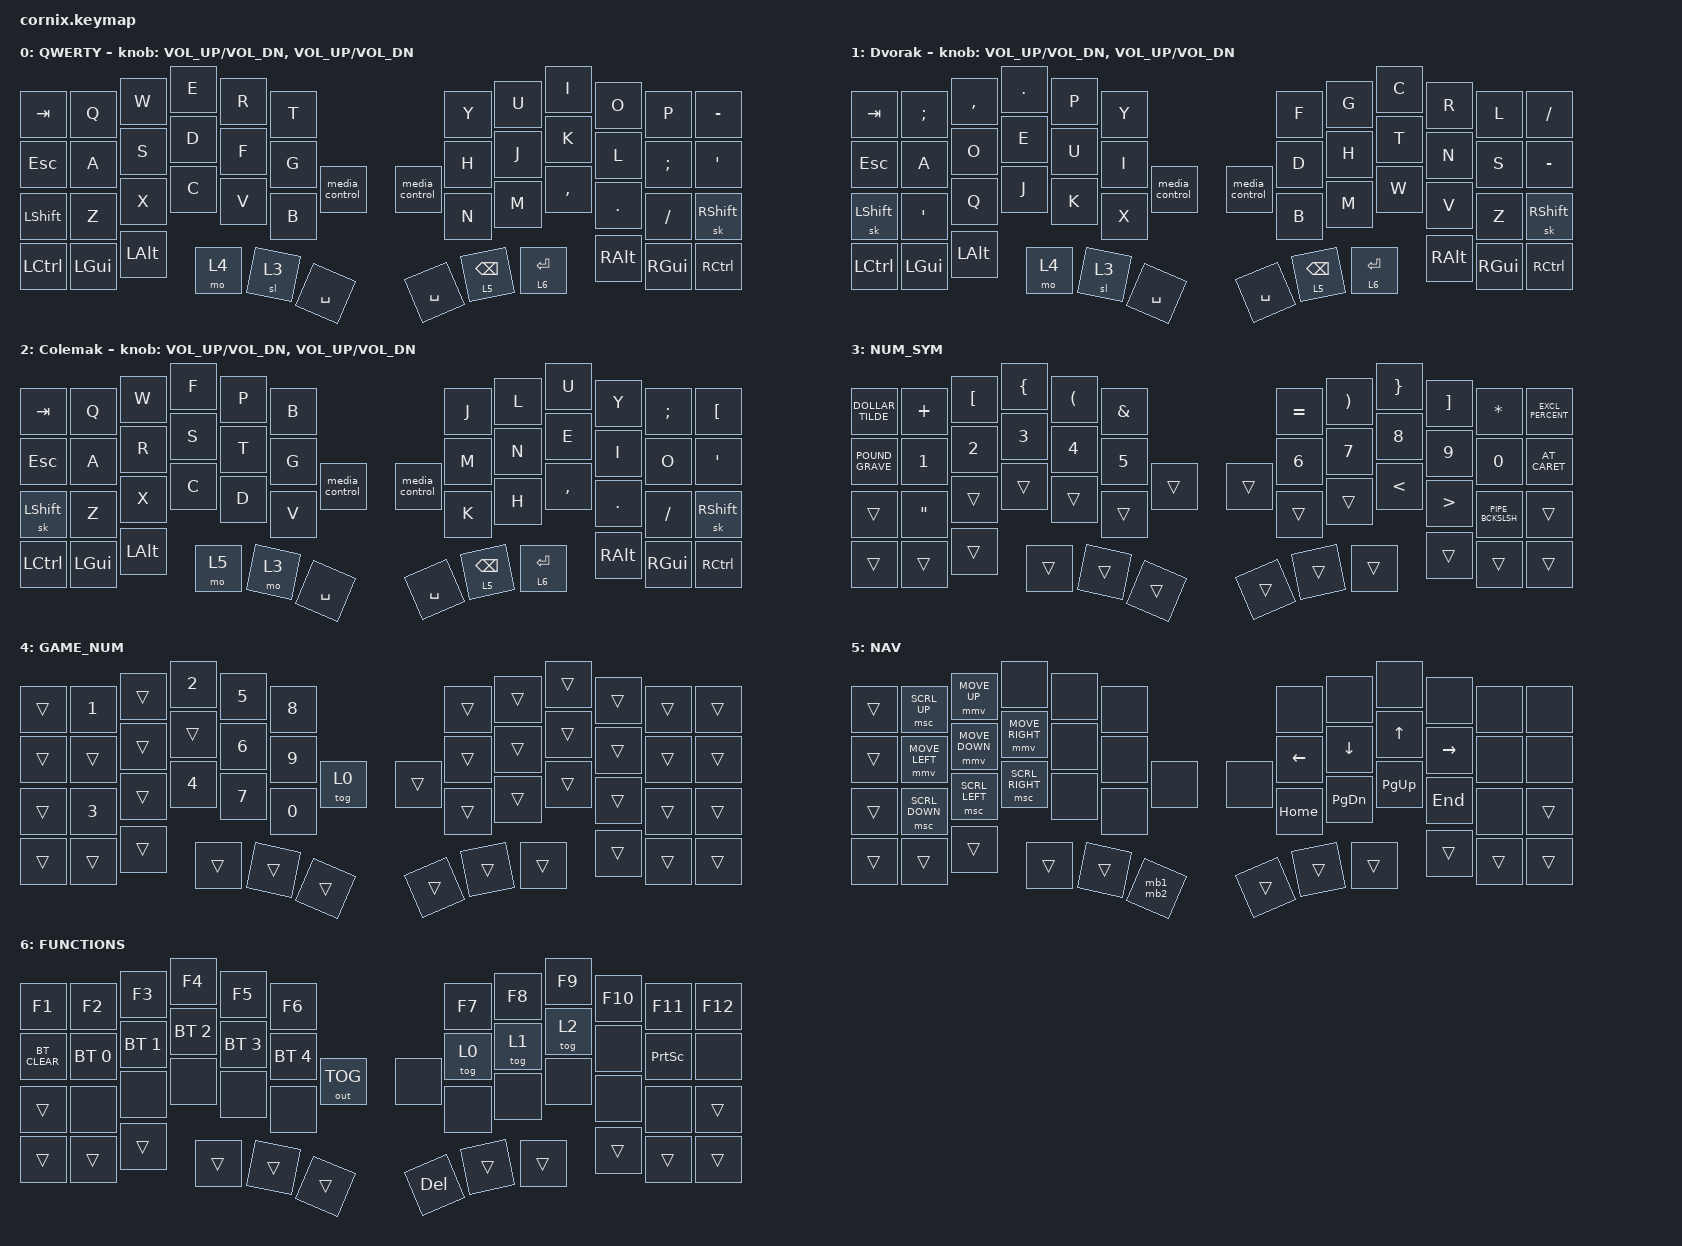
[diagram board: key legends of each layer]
/*
 * Copyright (c) 2020 The ZMK Contributors
 *
 * SPDX-License-Identifier: MIT
 */

#include "zmk-helpers/helper.h"
#include "includes/cornix54.h"

// tap windows for ctl alt and gui

#define HM_TAPPING_TERM 250
#define HM_TAPPING_REPEAT 210

// quick tapping for shift

#define HM_TAPPING_TERM_FAST 200
#define HM_PRIOR_IDLE 70
#define BASE 0
#define WIN 1
#define LOWER 2
#define RAISE 3
#define ADJUST 4
#define NAVI   5
#define NUM    6
#define DEBUG  7

// https://github.com/urob/zmk-config/tree/main#timeless-homerow-mods

#define KEYS_L LT0 LT1 LT2 LT3 LT4 LT5 LM0 LM1 LM2 LM3 LM4 LM5 LB0 LB1 LB2 LB3 LB4 LB5  // left hand
#define KEYS_R RT0 RT1 RT2 RT3 RT4 RT5 RM0 RM1 RM2 RM3 RM4 RM5 RB0 RB1 RB2 RB3 RB4 RB5  // right hand
#define THUMBS LH1 LH0 RH0 RH1
#define KEYS_T LH1 LH0 RH0 RH1
#define ZMK_POINTING_DEFAULT_SCRL_VAL 15

#include <behaviors.dtsi>
#include <dt-bindings/zmk/bt.h>
#include <dt-bindings/zmk/keys.h>
#include <dt-bindings/zmk/outputs.h>
#include <dt-bindings/zmk/pointing.h>

&sk {
    quick-release;
    release-after-ms = <750>;
};

&sl {
    ignore-modifiers;
    release-after-ms = <750>;
};

&lt {
};

/ {
    // Activate ADJUST layer by pressing raise and lower

    behaviors {
        // Positional Homerow mods for shift
        // Use faster tapping term and disable some features that may
        // cause false negatives.
        /*
         * Non-Positional Homerow Mods
         * Used for &mm_grescm_gui behavior on left hand.
         *
         * Usage: &hm LSHFT T
         * Tap: T
         * Tap-Tap-Hold: Repeat T
         * Hold: LSHIFT
         */

        mb1_mb2: mb1_mb2 {
            compatible = "zmk,behavior-mod-morph";
            bindings = <&mkp MB1>, <&mkp MB2>;

            #binding-cells = <0>;
            mods = <(MOD_LSFT)>;
        };

        media_control: media_control {
            compatible = "zmk,behavior-tap-dance";
            #binding-cells = <0>;
            bindings = <&kp C_PLAY_PAUSE>, <&kp C_NEXT>, <&kp C_PREV>;
        };

        BT_CLEAR: BT_CLEAR {
            compatible = "zmk,behavior-mod-morph";
            bindings = <&bt BT_CLR>, <&bt BT_CLR_ALL>;

            #binding-cells = <0>;
            mods = <(MOD_LSFT)>;
        };

        DOLLAR_TILDE: DOLLAR_TILDE {
            compatible = "zmk,behavior-mod-morph";
            label = "DOLLAR_TILDE";
            bindings = <&kp DOLLAR>, <&kp TILDE>;

            #binding-cells = <0>;
            mods = <(MOD_LSFT|MOD_RSFT)>;
        };

        EXCL_PERCENT: EXCL_PERCENT {
            compatible = "zmk,behavior-mod-morph";
            bindings = <&kp EXCLAMATION>, <&kp PERCENT>;

            #binding-cells = <0>;
            mods = <(MOD_LSFT|MOD_RSFT)>;
        };

        POUND_GRAVE: POUND_GRAVE {
            compatible = "zmk,behavior-mod-morph";
            bindings = <&kp HASH>, <&kp GRAVE>;

            #binding-cells = <0>;
            mods = <(MOD_LSFT|MOD_RSFT)>;
        };

        AT_CARET: AT_CARET {
            compatible = "zmk,behavior-mod-morph";
            bindings = <&kp AT_SIGN>, <&kp CARET>;

            #binding-cells = <0>;
            mods = <(MOD_LSFT|MOD_RSFT)>;
        };

        PIPE_BCKSLSH: PIPE_BCKSLSH {
            compatible = "zmk,behavior-mod-morph";
            bindings = <&kp PIPE>, <&kp BACKSLASH>;

            #binding-cells = <0>;
            mods = <(MOD_LSFT|MOD_RSFT)>;
        };
    };

    conditional_layers {
        compatible = "zmk,conditional-layers";

        Functions1 {
            if-layers = <3 5>;
            then-layer = <6>;
        };

        Functions2 {
            if-layers = <3 4>;
            then-layer = <6>;
        };
    };

    combos {
        compatible = "zmk,combos";

        cb_escape {
            bindings = <&kp ESCAPE>;
            key-positions = <19 20>;
            layers = <2>;
        };

        alt_tab {
            bindings = <&kp LA(TAB)>;
            key-positions = <40 0>;
            timeout-ms = <30>;
            layers = <0 2>;
        };

        lsft {
            bindings = <&kp LEFT_SHIFT>;
            key-positions = <14 15>;
            layers = <2 3 1>;
            timeout-ms = <30>;
        };

        rsft {
            bindings = <&kp RIGHT_SHIFT>;
            key-positions = <20 21>;
            timeout-ms = <30>;
            layers = <0 2 3 1>;
        };
    };

    macros {
        copy: copy {
            compatible = "zmk,behavior-macro";
            #binding-cells = <0>;
            bindings = <&kp LCTRL &kp LEFT_SHIFT &kp C>;
            label = "COPY";
        };

        paste: paste {
            compatible = "zmk,behavior-macro";
            #binding-cells = <0>;
            bindings = <&kp LCTRL &kp LEFT_SHIFT &kp V>;
            label = "PASTE";
        };
    };

    keymap {
        compatible = "zmk,keymap";

        QWERTY {
            display-name = "QWERTY";
            bindings = <
&kp TAB    &kp Q     &kp W     &kp E  &kp R  &kp T                                      &kp Y      &kp U            &kp I         &kp O     &kp P     &kp MINUS
&kp ESC    &kp A     &kp S     &kp D  &kp F  &kp G                                      &kp H      &kp J            &kp K         &kp L     &kp SEMI  &kp SQT
&kp LSHFT  &kp Z     &kp X     &kp C  &kp V  &kp B      &media_control  &media_control  &kp N      &kp M            &kp COMMA     &kp DOT   &kp FSLH  &sk RSHFT
&kp LCTRL  &kp LGUI  &kp LALT  &mo 4  &sl 3  &kp SPACE                                  &kp SPACE  &lt 5 BACKSPACE  &lt 6 RETURN  &kp RALT  &kp RGUI  &kp RIGHT_CONTROL
            >;

            sensor-bindings =
                <&inc_dec_kp C_VOL_UP C_VOL_DN>,
                <&inc_dec_kp C_VOLUME_UP C_VOL_DN>;
        };

        DVORAK {
            display-name = "Dvorak";
            bindings = <
&kp TAB    &kp SEMI  &kp COMMA  &kp DOT  &kp P  &kp Y                                      &kp F      &kp G            &kp C         &kp R     &kp L     &kp FSLH
&kp ESC    &kp A     &kp O      &kp E    &kp U  &kp I                                      &kp D      &kp H            &kp T         &kp N     &kp S     &kp MINUS
&sk LSHFT  &kp APOS  &kp Q      &kp J    &kp K  &kp X      &media_control  &media_control  &kp B      &kp M            &kp W         &kp V     &kp Z     &sk RSHFT
&kp LCTRL  &kp LGUI  &kp LALT   &mo 4    &sl 3  &kp SPACE                                  &kp SPACE  &lt 5 BACKSPACE  &lt 6 RETURN  &kp RALT  &kp RGUI  &kp RIGHT_CONTROL
            >;

            sensor-bindings =
                <&inc_dec_kp C_VOL_UP C_VOL_DN>,
                <&inc_dec_kp C_VOLUME_UP C_VOL_DN>;
        };

        COLEMAK {
            display-name = "Colemak";

            // ------------------------------------------------------------------------------------------------------------
            // |   `   |  1  |  2  |  3   |  4   |  5   |                   |  6   |  7    |  8    |  9   |   0   |       |
            // |  ESC  |  Q  |  W  |  E   |  R   |  T   |                   |  Y   |  U    |  I    |  O   |   P   | BKSPC |
            // |  TAB  |  A  |  S  |  D   |  F   |  G   |                   |  H   |  J    |  K    |  L   |   ;   |   '   |
            // | SHIFT |  Z  |  X  |  C   |  V   |  B   |  MUTE  |  |       |  N   |  M    |  ,    |  .   |   /   | SHIFT |
            //               | GUI | ALT  | CTRL | LOWER|  ENTER |  | SPACE | RAISE| CTRL  | ALT   | GUI  |

            bindings = <
&kp TAB    &kp Q     &kp W     &kp F  &kp P  &kp B                                      &kp J      &kp L            &kp U        &kp Y     &kp SEMI  &kp LBKT
&kp ESC    &kp A     &kp R     &kp S  &kp T  &kp G                                      &kp M      &kp N            &kp E        &kp I     &kp O     &kp SQT
&sk LSHFT  &kp Z     &kp X     &kp C  &kp D  &kp V      &media_control  &media_control  &kp K      &kp H            &kp COMMA    &kp DOT   &kp FSLH  &sk RSHFT
&kp LCTRL  &kp LGUI  &kp LALT  &mo 5  &mo 3  &kp SPACE                                  &kp SPACE  &lt 5 BACKSPACE  &lt 6 ENTER  &kp RALT  &kp RGUI  &kp RIGHT_CONTROL
            >;

            sensor-bindings =
                <&inc_dec_kp C_VOL_UP C_VOL_DN>,
                <&inc_dec_kp C_VOLUME_UP C_VOL_DN>;
        };

        NUM_SYM {
            bindings = <
&DOLLAR_TILDE  &kp PLUS           &kp LEFT_BRACKET  &kp LEFT_BRACE  &kp LEFT_PARENTHESIS  &kp AMPS                  &kp EQUAL  &kp RIGHT_PARENTHESIS  &kp RIGHT_BRACE  &kp RIGHT_BRACKET  &kp ASTERISK   &EXCL_PERCENT
&POUND_GRAVE   &kp N1             &kp NUMBER_2      &kp N3          &kp N4                &kp N5                    &kp N6     &kp N7                 &kp N8           &kp N9             &kp N0         &AT_CARET
&trans         &kp DOUBLE_QUOTES  &trans            &trans          &trans                &trans    &trans  &trans  &trans     &trans                 &kp LESS_THAN    &kp GREATER_THAN   &PIPE_BCKSLSH  &trans
&trans         &trans             &trans            &trans          &trans                &trans                    &trans     &trans                 &trans           &trans             &trans         &trans
            >;
        };

        GAME_NUM {
            bindings = <
&trans  &kp N1        &trans  &kp N2        &kp N5        &kp N8                  &trans  &trans  &trans  &trans  &trans  &trans
&trans  &trans        &trans  &trans        &kp NUMBER_6  &kp N9                  &trans  &trans  &trans  &trans  &trans  &trans
&trans  &kp NUMBER_3  &trans  &kp NUMBER_4  &kp N7        &kp N0  &tog 0  &trans  &trans  &trans  &trans  &trans  &trans  &trans
&trans  &trans        &trans  &trans        &trans        &trans                  &trans  &trans  &trans  &trans  &trans  &trans
            >;
        };

        NAV {
            bindings = <
&trans  &msc SCRL_UP    &mmv MOVE_UP    &none            &none   &none                   &none     &none          &none      &none      &none   &none
&trans  &mmv MOVE_LEFT  &mmv MOVE_DOWN  &mmv MOVE_RIGHT  &none   &none                   &kp LEFT  &kp DOWN       &kp UP     &kp RIGHT  &none   &none
&trans  &msc SCRL_DOWN  &msc SCRL_LEFT  &msc SCRL_RIGHT  &none   &none     &none  &none  &kp HOME  &kp PAGE_DOWN  &kp PG_UP  &kp END    &none   &trans
&trans  &trans          &trans          &trans           &trans  &mb1_mb2                &trans    &trans         &trans     &trans     &trans  &trans
            >;
        };

        FUNCTIONS {
            bindings = <
&kp F1     &kp F2        &kp F3        &kp F4        &kp F5        &kp F6                             &kp F7      &kp F8  &kp F9  &kp F10  &kp F11          &kp F12
&BT_CLEAR  &bt BT_SEL 0  &bt BT_SEL 1  &bt BT_SEL 2  &bt BT_SEL 3  &bt BT_SEL 4                       &tog 0      &tog 1  &tog 2  &none    &kp PRINTSCREEN  &none
&trans     &none         &none         &none         &none         &none         &out OUT_TOG  &none  &none       &none   &none   &none    &none            &trans
&trans     &trans        &trans        &trans        &trans        &trans                             &kp DELETE  &trans  &trans  &trans   &trans           &trans
            >;
        };
    };
};
